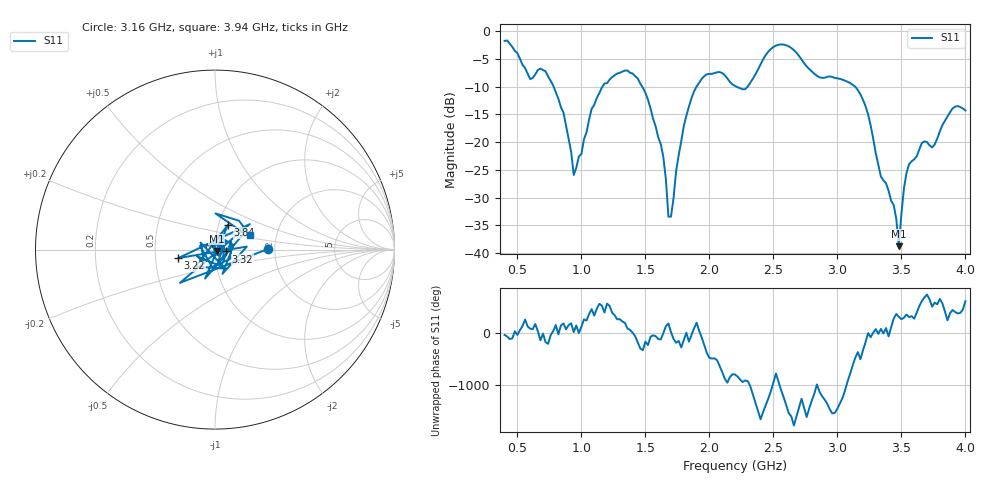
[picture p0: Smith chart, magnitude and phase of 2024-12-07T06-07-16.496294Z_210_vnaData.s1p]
!Created with skrf (http://scikit-rf.org).
# Hz S RI R 50.0
!freq ReS11 ImS11
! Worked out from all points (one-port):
!   181 points, 400 MHz to 4 GHz, reference 50 ohm
!   lowest |S11| = -38.8 dB at 3.48 GHz (marker M1), VSWR 1.02, Z = 50.9 - j0.763 ohm
!   |S11| at or under -10 dB: 783.5 MHz to 1.164 GHz (380.6 MHz wide, 39.1 % of centre); 1.476 GHz to 1.899 GHz (423.2 MHz wide, 25.1 % of centre); 3.14 GHz to end of sweep (the widest 3 of 4)
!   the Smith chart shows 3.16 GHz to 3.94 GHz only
!   S11 on the Smith chart (normalised r, x): 3.16 GHz: 1.84, +0.01; 3.22 GHz: 0.66, -0.07; 3.32 GHz: 1.13, -0.02; 3.84 GHz: 1.11, +0.31; 3.94 GHz: 1.46, +0.25
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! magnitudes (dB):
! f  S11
! 400 MHz  -1.7
! 600 MHz  -8.6
! 720 MHz  -7.2
! 860 MHz  -14.7
! 940 MHz  -25.9
! 1.08 GHz  -14.0
! 1.3 GHz  -7.5
! 1.52 GHz  -12.3
! 1.64 GHz  -22.7
! 1.68 GHz  -33.4
! 1.7 GHz  -33.4
! 1.76 GHz  -22.4
! 1.84 GHz  -13.6
! 1.94 GHz  -8.6
! 2.2 GHz  -9.8
! 2.5 GHz  -2.8
! 2.66 GHz  -3.4
! 3.1 GHz  -9.4
! 3.16 GHz  -10.6
! 3.22 GHz  -13.5
! 3.32 GHz  -24.1
! 3.44 GHz  -31.4
! 3.48 GHz  -38.8
! 3.52 GHz  -28.3
! 3.56 GHz  -24.0
! 3.84 GHz  -16.1
! 3.94 GHz  -13.5
! 4 GHz  -14.3
